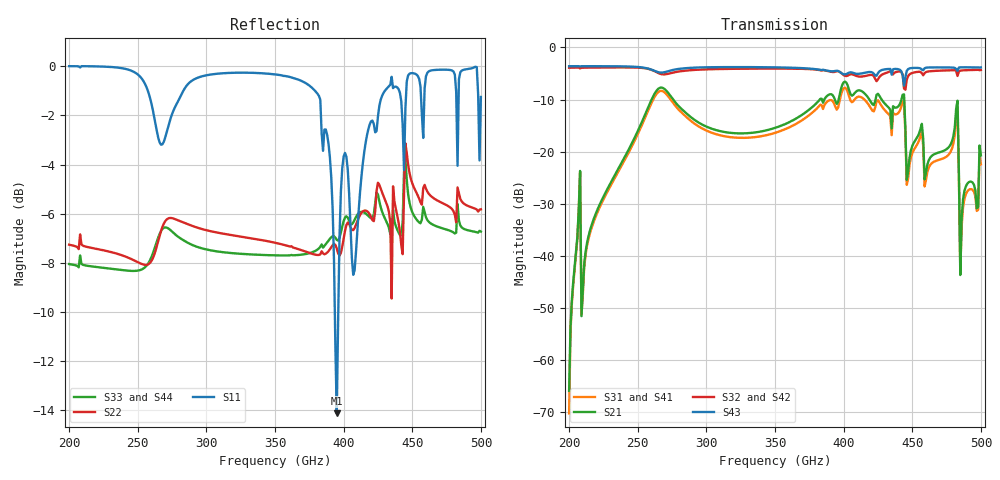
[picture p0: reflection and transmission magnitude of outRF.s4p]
!Created with skrf (http://scikit-rf.org).
# GHz S RI R 50.0
!freq
! ReS14 ImS14
! ReS24 ImS24
! ReS34 ImS34
! ReS44 ImS44
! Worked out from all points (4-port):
!   301 points, 200 GHz to 500 GHz, reference 50 ohm
!   strongest paths, dB at 200 GHz, 275 GHz, 350 GHz, 425 GHz, 500 GHz:
!     S43: -3.6, -4.4, -3.8, -5.0, -3.8
!     S32: -3.9, -4.9, -4.1, -6.1, -4.3
!     S42: -3.9, -4.9, -4.1, -6.2, -4.4
!     S21: -65.9, -9.7, -15.4, -8.9, -20.7
!     S31: -70.2, -10.4, -16.4, -10.1, -22.4
!     S41: -68.8, -10.4, -16.4, -10.2, -22.5
!   lowest |S11| = -14.1 dB at 395 GHz (marker M1), VSWR 1.49, Z = 42.3 - j16.8 ohm
!   |S11| at or under -10 dB: 393.6 GHz to 396.1 GHz (2.509 GHz wide, 0.636 % of centre)
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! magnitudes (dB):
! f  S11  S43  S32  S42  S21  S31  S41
! 200 GHz  0.0  -3.6  -3.9  -3.9  -65.9  -70.2  -68.8
! 208 GHz  -0.1  -3.7  -4.0  -4.1  -23.7  -24.0  -24.0
! 209 GHz  0.0  -3.6  -3.9  -3.9  -51.5  -51.3  -51.0
! 265 GHz  -2.9  -4.8  -4.9  -5.0  -7.9  -8.6  -8.6
! 395 GHz  -14.1  -4.5  -4.6  -4.7  -10.8  -11.9  -12.0
! 485 GHz  -0.2  -3.8  -4.5  -4.6  -43.7  -42.6  -44.6
! 500 GHz  -1.3  -3.8  -4.3  -4.4  -20.7  -22.4  -22.5
